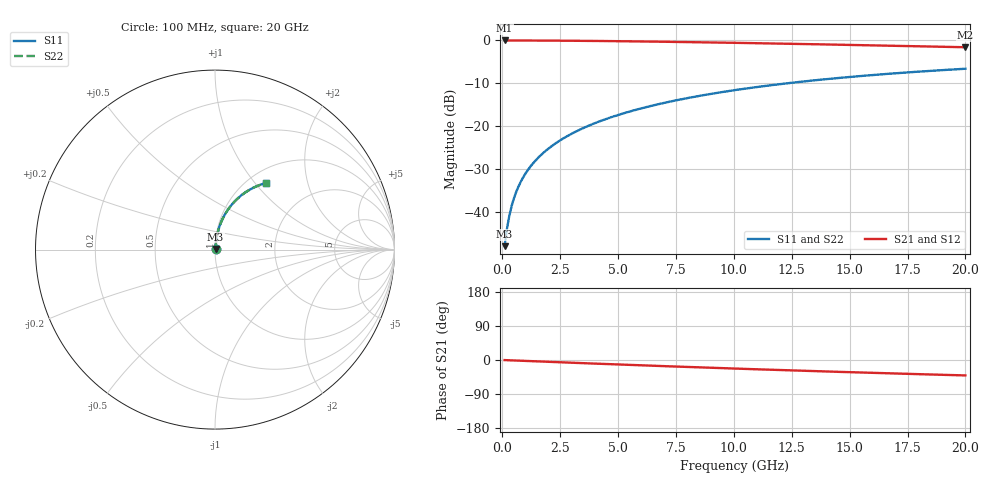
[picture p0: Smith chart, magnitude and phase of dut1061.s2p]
! Touchstone file exported from HFSS 2024.1.0
!  File:  C:/UserFiles/LocalFiles/RDL_TSV_Batchsim/temp_RDL_top_1061_1780044862.aedt
!  Generated:  04:56:38 PM May 29, 2026
!  Design:  RDL_top
!  Project:  temp_RDL_top_1061_1780044862
!  Setup:  Setup1
!  Solution:  Sweep
! Variables:
!  dtsv = 10.80580581um
!  hbump = 3um
!  htsv = 88.21um
!  ldown = 100um
!  lrdl = 498.45um
!  p = 40
!  p1 = 59.81um
!  rhole = 1um
!  t = 450um
!  tdown = 3.915915916um
!  trdl = 4.93um
!  wdown = 15.38538539um
!  wrdl = 13.09um
# GHz S MA R 50.000000
! Terminal data exported
! Port[1] = Box2_T1
! Port[2] = Box2_T2
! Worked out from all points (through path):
!   200 points, 100 MHz to 20 GHz, reference 50 ohm
!   highest |S21| = -0.02 dB at 100 MHz (marker M1); lowest = -1.6 dB at 20 GHz (marker M2)
!   group delay of S21, straight-line fit = 5.65 ps
!   lowest |S11| = -48.0 dB at 100 MHz (marker M3), VSWR 1.01, Z = 50.3 + j0.282 ohm
!   |S11| at or under -10 dB: start of sweep to 12.33 GHz
!   |S22| runs from -48.0 to -6.6 dB; largest |S21 - S12| = 2.6e-15
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0.1  0.003969 44.9  0.9972 -0.2  0.9972 -0.2  0.003969 44.9
! Gamma 0 0 0 0
! Port Impedance 50 0 50 0
0.2  0.00629 62.9  0.9971 -0.5  0.9971 -0.5  0.00629 62.9
0.3  0.008893 70.7  0.997 -0.7  0.997 -0.7  0.008893 70.7
0.4  0.01158 74.7  0.9969 -1.0  0.9969 -1.0  0.01158 74.7
0.5  0.0143 77.1  0.9968 -1.2  0.9968 -1.2  0.0143 77.1
0.7  0.01975 79.7  0.9965 -1.7  0.9965 -1.7  0.01975 79.7
0.8  0.02247 80.4  0.9963 -1.9  0.9963 -1.9  0.02247 80.4
1  0.02789 81.4  0.996 -2.4  0.996 -2.4  0.02789 81.4
1.2  0.0333 81.9  0.9956 -2.9  0.9956 -2.9  0.0333 81.9
1.4  0.03868 82.2  0.9951 -3.4  0.9951 -3.4  0.03868 82.2
1.7  0.04674 82.4  0.9944 -4.1  0.9944 -4.1  0.04674 82.4
2  0.05478 82.4  0.9935 -4.8  0.9935 -4.8  0.05478 82.4
2.7  0.07351 82.0  0.9908 -6.5  0.9908 -6.5  0.07351 82.0
3.5  0.09486 81.1  0.987 -8.4  0.987 -8.4  0.09486 81.1
4.2  0.1135 80.1  0.9831 -10.0  0.9831 -10.0  0.1135 80.1
5  0.1346 78.8  0.978 -11.8  0.978 -11.8  0.1346 78.8
6.8  0.1815 75.8  0.9647 -15.8  0.9647 -15.8  0.1815 75.8
8.3  0.2197 73.1  0.9519 -19.0  0.9519 -19.0  0.2197 73.1
10.1  0.264 69.8  0.9352 -22.7  0.9352 -22.7  0.264 69.8
13.4  0.3399 63.8  0.9019 -29.2  0.9019 -29.2  0.3399 63.8
16.7  0.4076 58.0  0.8666 -35.2  0.8666 -35.2  0.4075 58.0
20  0.4663 52.6  0.8309 -40.7  0.8309 -40.7  0.4662 52.6
